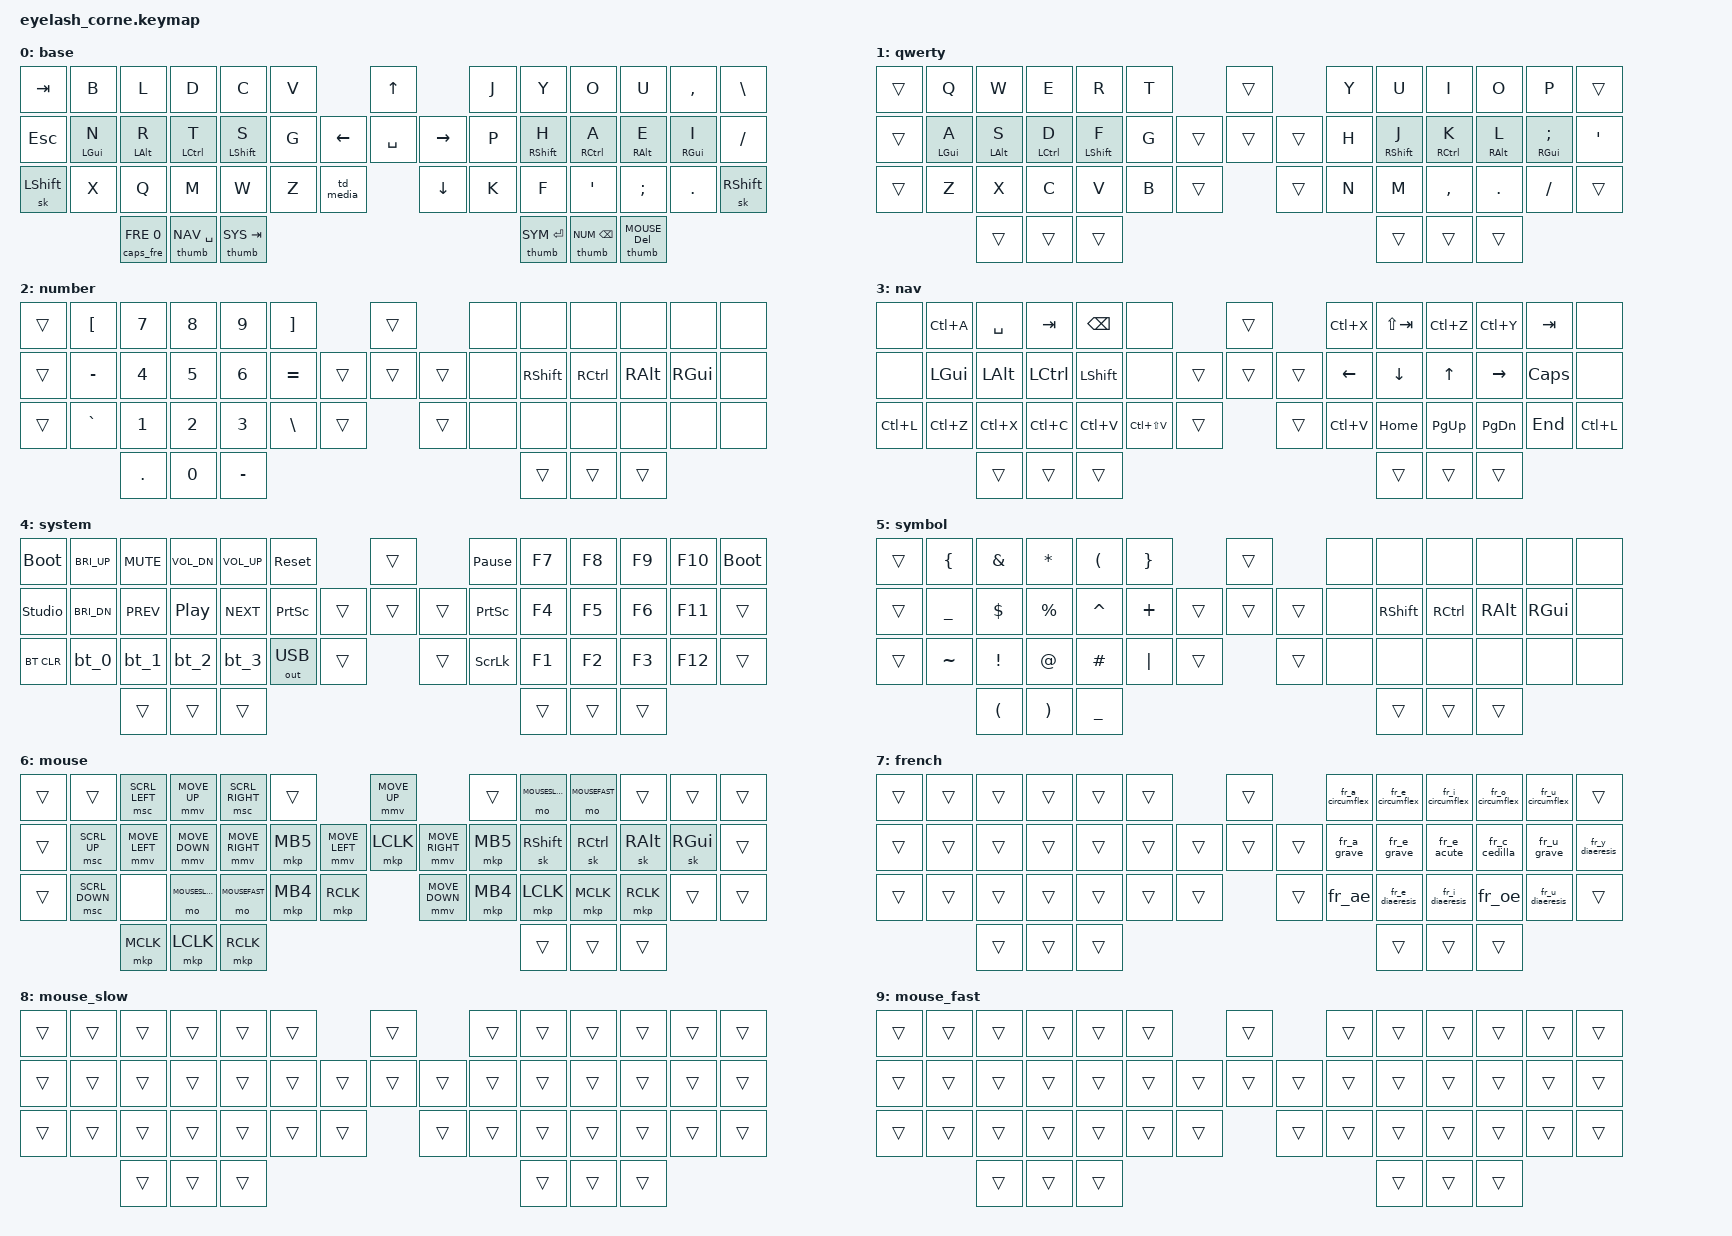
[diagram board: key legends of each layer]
#define ZMK_POINTING_DEFAULT_MOVE_VAL 1500
#define ZMK_POINTING_DEFAULT_SCRL_VAL 20

#include <input/processors.dtsi>
#include <zephyr/dt-bindings/input/input-event-codes.h>
#include <behaviors.dtsi>
#include <dt-bindings/zmk/bt.h>
#include <dt-bindings/zmk/keys.h>
#include <dt-bindings/zmk/outputs.h>
#include <dt-bindings/zmk/pointing.h>
#include <dt-bindings/zmk/rgb.h>

// Unicode input method: 0 = Windows/WinCompose, 1 = Linux (ibus), 2 = macOS.
// Must be defined *before* helper.h and the unicode-chars files.
#define HOST_OS 1

#include "zmk-helpers/helper.h"
#include "zmk-helpers/key-labels/eyelash42.h"
#include "zmk-helpers/unicode-chars/french.dtsi"
#include "labels.h"

#define BASE 0
#define QWERTY 1
#define NUM 2
#define NAV 3
#define SYS 4
#define SYM 5
#define MOUSE 6
#define FRE 7
#define MOUSESLOW 8
#define MOUSEFAST 9

#define ___ &trans

&soft_off { hold-time-ms = <2000>; };

&mmv_input_listener {
    MOUSESLOW {
        layers = <MOUSESLOW>;
        input-processors = <&zip_xy_scaler 1 3>;
    };
    MOUSEFAST {
        layers = <MOUSEFAST>;
        input-processors = <&zip_xy_scaler 3 1>;
    };
};

&msc_input_listener {
    MOUSESLOW {
        layers = <MOUSESLOW>;
        input-processors = <&zip_scroll_scaler 1 3>;
    };
    MOUSEFAST {
        layers = <MOUSEFAST>;
        input-processors = <&zip_scroll_scaler 3 1>;
    };
};

ZMK_HOLD_TAP(hml,
    flavor = "balanced";
    require-prior-idle-ms = <100>;
    tapping-term-ms = <190>;
    quick-tap-ms = <300>;
    bindings = <&kp>, <&kp>;
    hold-trigger-key-positions = <KEYS_R THUMBS>;
    hold-trigger-on-release;
)

ZMK_HOLD_TAP(hmr,
    flavor = "balanced";
    require-prior-idle-ms = <100>;
    tapping-term-ms = <190>;
    quick-tap-ms = <300>;
    bindings = <&kp>, <&kp>;
    hold-trigger-key-positions = <KEYS_L THUMBS>;
    hold-trigger-on-release;
)

ZMK_HOLD_TAP(thumb,
    flavor = "balanced";
    tapping-term-ms = <200>;
    bindings = <&mo>, <&kp>;
    quick-tap-ms = <250>;
)

// Tap for caps word, hold for the French diacritics layer.
// The second parameter is unused: &caps_word takes no parameters.
ZMK_HOLD_TAP(caps_fre,
    flavor = "balanced";
    tapping-term-ms = <200>;
    bindings = <&mo>, <&caps_word>;
    quick-tap-ms = <250>;
)

ZMK_TAP_DANCE(td_media,
    bindings = <&kp C_PP>, <&kp C_NEXT>, <&kp C_PREV>;
    tapping-term-ms = <1000>;
)

ZMK_TAP_DANCE(bt_0, bindings = <&bt_select_0>, <&bt BT_DISC 0>;)
ZMK_TAP_DANCE(bt_1, bindings = <&bt_select_1>, <&bt BT_DISC 1>;)
ZMK_TAP_DANCE(bt_2, bindings = <&bt_select_2>, <&bt BT_DISC 2>;)
ZMK_TAP_DANCE(bt_3, bindings = <&bt_select_3>, <&bt BT_DISC 3>;)

ZMK_MACRO(bt_select_0, bindings = <&out OUT_BLE>, <&bt BT_SEL 0>;)
ZMK_MACRO(bt_select_1, bindings = <&out OUT_BLE>, <&bt BT_SEL 1>;)
ZMK_MACRO(bt_select_2, bindings = <&out OUT_BLE>, <&bt BT_SEL 2>;)
ZMK_MACRO(bt_select_3, bindings = <&out OUT_BLE>, <&bt BT_SEL 3>;)

ZMK_MACRO_ONE_PARAM(mod_tab_layer,
    bindings
        = <&macro_press &mo NAV>,
          <&macro_param_1to1>,
          <&macro_press &kp MACRO_PLACEHOLDER>,
          <&macro_tap &kp TAB>,
          <&macro_pause_for_release>,
          <&macro_param_1to1>,
          <&macro_release &kp MACRO_PLACEHOLDER>,
          <&macro_release &mo NAV>;
)

ZMK_COMBO(softoff, &soft_off, LT4 LM3 LB4)

ZMK_COMBO(caps_word, &caps_word, LB5 RB5)

// Outer top corners (TAB + \): toggle QWERTY on top of the Gallium base.
ZMK_COMBO(qwerty_toggle, &tog QWERTY, LT5 RT5)

// Physical layout (see zmk-helpers/key-labels/eyelash42.h for the position map):
//
//  LT5 LT4 LT3 LT2 LT1 LT0          JS0      RT0 RT1 RT2 RT3 RT4 RT5
//  LM5 LM4 LM3 LM2 LM1 LM0      JS1 JS2 JS3  RM0 RM1 RM2 RM3 RM4 RM5
//  LB5 LB4 LB3 LB2 LB1 LB0  LEC     JS4      RB0 RB1 RB2 RB3 RB4 RB5
//          LH2 LH1 LH0                       RH0 RH1 RH2
//
// JS0-4 = joystick; LEC = scroller/encoder push
// Gallium v2, matrix (colstag) variant:
//
//   b l d c v   j y o u ,
//   n r t s g   p h a e i
//   x q m w z   k f ' ; .
ZMK_LAYER(base,
&kp TAB   &kp B       &kp L       &kp D        &kp C        &kp V                          &kp UP                   &kp J  &kp Y         &kp O         &kp U       &kp COMMA   &kp BSLH
&kp ESC   &hml LGUI N &hml LALT R &hml LCTRL T &hml LSHFT S &kp G                &kp LEFT  &kp SPACE  &kp RIGHT     &kp P  &hmr RSHFT H  &hmr RCTRL A  &hmr RALT E &hmr RGUI I &kp FSLH
&sk LSHFT &kp X       &kp Q       &kp M        &kp W        &kp Z     &td_media            &kp DOWN                 &kp K  &kp F         &kp SQT       &kp SEMI    &kp DOT     &sk RSHFT
                      &caps_fre FRE 0 &thumb NAV SPACE &thumb SYS TAB                                              &thumb SYM RET &thumb NUM BSPC &thumb MOUSE DEL
, &inc_dec_kp C_VOL_UP C_VOL_DN
)

// Toggled on top of BASE by the TAB + \ combo. Only the alphas are remapped;
// every other key is transparent so it keeps whatever BASE defines.
ZMK_LAYER(qwerty,
___ &kp Q       &kp W       &kp E        &kp R        &kp T                    ___             &kp Y  &kp U         &kp I         &kp O        &kp P           ___
___ &hml LGUI A &hml LALT S &hml LCTRL D &hml LSHFT F &kp G            ___     ___     ___     &kp H  &hmr RSHFT J  &hmr RCTRL K  &hmr RALT L  &hmr RGUI SEMI  &kp SQT
___ &kp Z       &kp X       &kp C        &kp V        &kp B     ___            ___             &kp N  &kp M         &kp COMMA     &kp DOT      &kp FSLH        ___
                            ___ ___ ___                                                            ___ ___ ___
)

ZMK_LAYER(number,
___ &kp LBKT   &kp N7 &kp N8 &kp N9 &kp RBKT                             ___                   &none  &none      &none      &none     &none    &none
___ &kp MINUS  &kp N4 &kp N5 &kp N6 &kp EQUAL                     ___    ___    ___            &none  &kp RSHFT  &kp RCTRL  &kp RALT  &kp RGUI &none
___ &kp GRAVE  &kp N1 &kp N2 &kp N3 &kp BSLH           ___               ___                   &none  &none      &none      &none     &none    &none
                       &kp DOT &kp N0 &kp MINUS                                                   ___  ___  ___
)

ZMK_LAYER(nav,
&none     &kp LC(A) &kp SPACE &kp TAB   &kp BSPC  &none                                 ___              &kp LC(X)  &kp LS(TAB)  &kp LC(Z)  &kp LC(Y)  &kp TAB   &none
&none     &kp LGUI  &kp LALT  &kp LCTRL &kp LSHFT &none                          ___    ___    ___       &kp LEFT   &kp DOWN     &kp UP     &kp RIGHT  &kp CAPS  &none
&kp LC(L) &kp LC(Z) &kp LC(X) &kp LC(C) &kp LC(V) &kp LC(LS(V))          ___            ___              &kp LC(V)  &kp HOME     &kp PG_UP  &kp PG_DN  &kp END   &kp LC(L)
                              ___ ___ ___                                                                   ___ ___ ___
)

ZMK_LAYER(system,
&bootloader    &kp C_BRI_UP &kp C_MUTE &kp C_VOL_DN &kp C_VOL_UP &sys_reset                   ___             &kp PAUSE_BREAK &kp F7 &kp F8 &kp F9 &kp F10 &bootloader
&studio_unlock &kp C_BRI_DN &kp C_PREV &kp C_PP     &kp C_NEXT   &kp PSCRN             ___    ___    ___      &kp PSCRN       &kp F4 &kp F5 &kp F6 &kp F11 ___
&bt BT_CLR     &bt_0        &bt_1      &bt_2        &bt_3        &out OUT_USB  ___            ___             &kp SLCK        &kp F1 &kp F2 &kp F3 &kp F12 ___
                                              ___ ___ ___                                                           ___ ___ ___
, &inc_dec_kp C_BRI_UP C_BRI_DN
)

ZMK_LAYER(symbol,
___ &kp LBRC  &kp AMPS &kp STAR  &kp LPAR  &kp RBRC                         ___              &none  &none      &none      &none     &none    &none
___ &kp UNDER &kp DLLR &kp PRCNT &kp CARET &kp PLUS                  ___    ___    ___       &none  &kp RSHFT  &kp RCTRL  &kp RALT  &kp RGUI &none
___ &kp TILDE &kp EXCL &kp AT    &kp HASH  &kp PIPE          ___            ___              &none  &none      &none      &none     &none    &none
                       &kp LPAR &kp RPAR &kp UNDER                                                ___  ___  ___
)

ZMK_LAYER(mouse,
___ ___            &msc SCRL_LEFT &mmv MOVE_UP   &msc SCRL_RIGHT ___                                         &mmv MOVE_UP                     ___      &mo MOUSESLOW &mo MOUSEFAST ___      ___      ___
___ &msc SCRL_UP   &mmv MOVE_LEFT &mmv MOVE_DOWN &mmv MOVE_RIGHT &mkp MB5                    &mmv MOVE_LEFT  &mkp LCLK  &mmv MOVE_RIGHT       &mkp MB5 &sk RSHFT     &sk RCTRL     &sk RALT &sk RGUI ___
___ &msc SCRL_DOWN &none          &mo MOUSESLOW  &mo MOUSEFAST   &mkp MB4       &mkp RCLK                    &mmv MOVE_DOWN                   &mkp MB4 &mkp LCLK     &mkp MCLK     &mkp RCLK ___     ___
                                  &mkp MCLK &mkp LCLK &mkp RCLK                                                                                    ___ ___ ___
)

// a-e-i-o-u-y, mostly
ZMK_LAYER(french,
___ ___ ___ ___ ___ ___                    ___               &fr_a_circumflex &fr_e_circumflex &fr_i_circumflex &fr_o_circumflex &fr_u_circumflex ___
___ ___ ___ ___ ___ ___             ___    ___    ___        &fr_a_grave      &fr_e_grave      &fr_e_acute      &fr_c_cedilla    &fr_u_grave      &fr_y_diaeresis
___ ___ ___ ___ ___ ___     ___            ___               &fr_ae           &fr_e_diaeresis  &fr_i_diaeresis  &fr_oe           &fr_u_diaeresis  ___
            ___ ___ ___                                          ___ ___ ___
)

ZMK_LAYER(mouse_slow,
___ ___ ___ ___ ___ ___                    ___               ___ ___ ___ ___ ___ ___
___ ___ ___ ___ ___ ___             ___    ___    ___        ___ ___ ___ ___ ___ ___
___ ___ ___ ___ ___ ___     ___            ___               ___ ___ ___ ___ ___ ___
            ___ ___ ___                                          ___ ___ ___
)

ZMK_LAYER(mouse_fast,
___ ___ ___ ___ ___ ___                    ___               ___ ___ ___ ___ ___ ___
___ ___ ___ ___ ___ ___             ___    ___    ___        ___ ___ ___ ___ ___ ___
___ ___ ___ ___ ___ ___     ___            ___               ___ ___ ___ ___ ___ ___
            ___ ___ ___                                          ___ ___ ___
)
